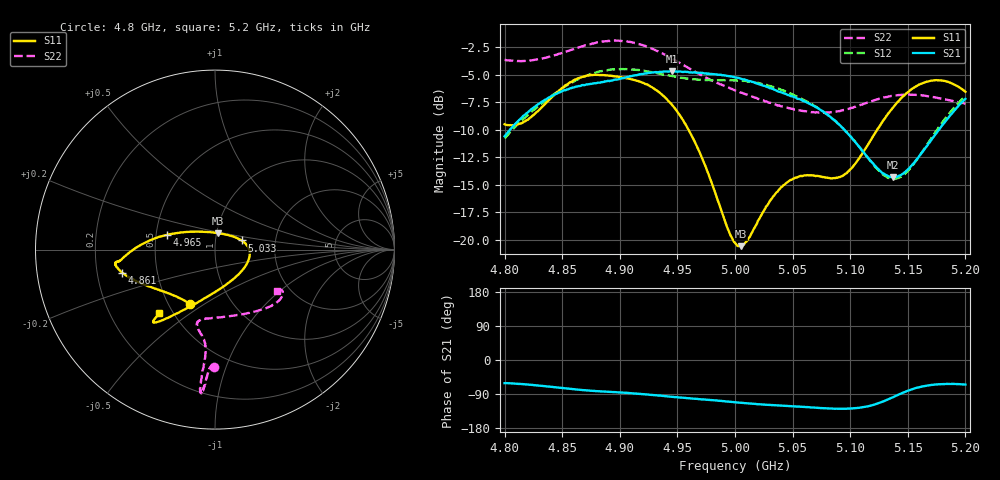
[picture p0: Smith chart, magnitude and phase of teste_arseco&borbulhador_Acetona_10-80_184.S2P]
! Network Analyzer HP8722D
! Hewlett-Packard
! Data name: Linha & Wilkinson
! Saver's name: Rodrigo Anjos
! Comments: Teste da utilização de aquisição
! continua pelo VNA HP8722D
! Time and date: 17/4/2025 15:53
!  Frequency  S11  S21  S12  S22
# HZ  S  MA R 50
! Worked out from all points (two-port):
!   401 points, 4.8 GHz to 5.2 GHz, reference 50 ohm
!   highest |S21| = -4.68 dB at 4.945 GHz (marker M1); lowest = -14.3 dB at 5.137 GHz (marker M2)
!   |S21| within 3 dB of the highest: 4.829 GHz to 5.065 GHz (235.9 MHz wide, 4.77 % of centre); 5.195317 GHz to end of sweep
!   lowest |S11| = -20.6 dB at 5.005 GHz (marker M3), VSWR 1.21, Z = 50.9 + j9.42 ohm
!   |S11| at or under -10 dB: 4.96 GHz to 5.123 GHz (163.7 MHz wide, 3.25 % of centre)
!   |S22| runs from -8.5 to -1.9 dB; largest |S21 - S12| = 0.88
!   S11 on the Smith chart (normalised r, x): 4.8 GHz: 0.64, -0.44; 4.861 GHz: 0.31, -0.11; 4.965 GHz: 0.57, +0.10; 5.033 GHz: 1.34, +0.14; 5.2 GHz: 0.42, -0.38
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4.8e9  0.3348 -114.1  0.295 -61.1  0.2889 -175.2  0.6566 -90.3
4.819e9  0.3488 -134.2  0.3754 -64.5  0.3643 -174.1  0.6511 -91.8
4.861e9  0.5339 -166.0  0.4943 -77.5  0.5277 -177.3  0.7392 -94.2
4.867e9  0.548 -168.5  0.5038 -79.2  0.5458 -178.3  0.7561 -94.3
4.9e9  0.5486 -172.9  0.5381 -85.7  0.5959 175.2  0.8021 -95.7
4.934e9  0.4692 -178.8  0.5784 -94.0  0.5711 171.4  0.7138 -95.9
4.945e9  0.4115 176.1  0.5834 -97.1  0.5547 171.6  0.6676 -95.7
4.965e9  0.2789 162.8  0.5763 -102.3  0.5363 173.5  0.5823 -95.2
5e9  0.09666 97.9  0.5464 -111.6  0.5304 176.0  0.4771 -99.3
5.005e9  0.09334 79.4  0.5393 -112.7  0.5285 175.9  0.4653 -100.5
5.012e9  0.1019 56.8  0.5259 -114.7  0.5229 175.5  0.4527 -101.9
5.033e9  0.1568 18.9  0.4841 -119.0  0.4952 174.4  0.4135 -103.5
5.05e9  0.1886 1.8  0.4488 -122.4  0.4563 173.8  0.3932 -99.4
5.067e9  0.196 -16.4  0.4092 -125.2  0.4127 173.5  0.3799 -90.3
5.085e9  0.1901 -44.7  0.3531 -128.5  0.3529 173.4  0.3809 -76.7
5.097e9  0.2005 -68.9  0.307 -128.5  0.3079 174.8  0.3913 -66.9
5.134e9  0.3796 -117.6  0.1932 -102.5  0.1903 -155.5  0.4481 -43.1
5.137e9  0.3974 -119.4  0.1919 -98.4  0.1892 -150.8  0.4511 -41.8
5.149e9  0.4636 -124.7  0.2059 -82.3  0.2031 -132.4  0.4566 -37.2
5.168e9  0.5247 -129.3  0.2734 -67.1  0.2768 -113.3  0.4474 -32.5
5.184e9  0.5233 -130.9  0.3524 -63.2  0.3646 -107.5  0.4324 -31.3
5.2e9  0.4701 -131.1  0.4366 -64.8  0.4487 -106.9  0.4155 -33.7
